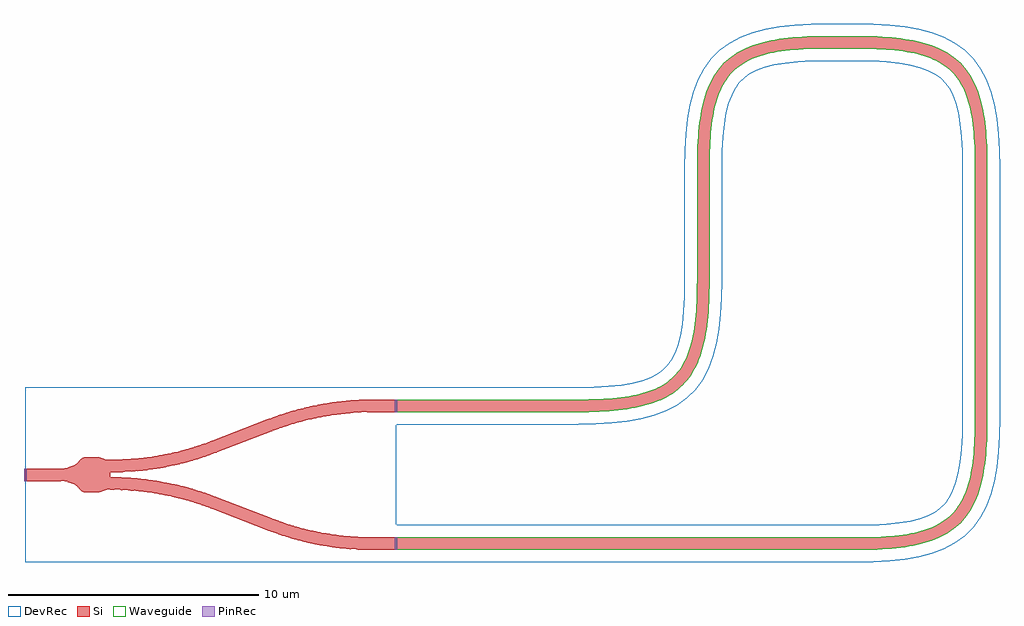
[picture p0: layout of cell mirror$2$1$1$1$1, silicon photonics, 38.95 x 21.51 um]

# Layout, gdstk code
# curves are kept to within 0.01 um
import gdstk
lib = gdstk.Library(unit=1e-6, precision=1e-09)
def R(c, l, rs):  # rectangles x0, y0, x1, y1
    for r in rs: c.add(gdstk.rectangle(r[:2], r[2:], *l))
def P(c, l, *ps):  # polygons
    for p in ps: c.add(gdstk.Polygon(p, *l))
Si = (1, 0)
PinRec = (1, 10)
Waveguide = (1, 99)
DevRec = (68, 0)

ebeam_y_1550 = lib.new_cell('ebeam_y_1550')
R(ebeam_y_1550, Si, [(6.5,-3,7.4,-2.5), (-7.4,-0.25,-6,0.25), (6.5,2.5,7.4,3)])
P(ebeam_y_1550, Si, [(6.458,-3),(6.237,-2.997),(6.237,-2.497),(6.5,-2.5),(6.5,-3)],
  [(2.265,-2.21),(0.055,-1.356),(0.235,-0.89),(2.445,-1.744)],
  [(5.033,-2.908),(4.288,-2.79),(3.59,-2.634),(2.922,-2.442),(2.265,-2.21),(2.445,-1.744),(3.075,-1.966),(3.731,-2.154),(4.372,-2.297),(5.033,-2.404)],
  [(-0.762,0.555),(-0.762,1.076),(0.055,1.356),(0.235,0.89),(-0.263,0.71)],
  [(6.233,-2.997),(5.619,-2.967),(5.033,-2.908),(5.033,-2.404),(5.625,-2.466),(6.237,-2.497)],
  [(0.235,0.89),(0.055,1.356),(2.265,2.21),(2.445,1.744)],
  [(-5.122,-0.662),(-5.344,-0.44),(-5.442,-0.374),(-5.808,-0.255),(-6,-0.25),(-6,0.25),(-5.817,0.253),(-5.442,0.374),(-5.344,0.44),(-5.122,0.662)],
  [(-4.957,-0.703),(-5.047,-0.692),(-5.122,-0.662),(-5.122,0.662),(-4.978,0.702),(-4.538,0.703),(-4.424,0.685),(-4.167,0.6),(-4,0.6),(-4,-0.6),(-4.167,-0.6),(-4.509,-0.701)],
  [(0.055,-1.356),(-0.762,-1.076),(-0.762,-0.555),(-0.263,-0.71),(0.235,-0.89)],
  [(6.237,2.497),(6.237,2.997),(6.5,3),(6.5,2.5)],
  [(-0.762,-1.076),(-1.532,-0.874),(-2.334,-0.724),(-3.178,-0.63),(-4,-0.6),(-4,-0.1),(-3.16,-0.13),(-2.381,-0.212),(-1.565,-0.355),(-0.762,-0.555)],
  [(5.033,2.404),(5.033,2.908),(5.619,2.967),(6.237,2.997),(6.237,2.497),(5.625,2.466)],
  [(-4,0.1),(-4,0.6),(-3.178,0.63),(-2.334,0.724),(-1.532,0.874),(-0.762,1.076),(-0.762,0.555),(-1.565,0.355),(-2.381,0.212),(-3.16,0.13)],
  [(2.445,1.744),(2.267,2.211),(2.922,2.442),(3.59,2.634),(4.288,2.79),(5.033,2.908),(5.033,2.404),(4.372,2.297),(3.731,2.154),(3.075,1.966)])
R(ebeam_y_1550, DevRec, [(-7.4,-3.5,7.4,3.5)])
ebeam_y_1550.add(gdstk.FlexPath([(-7.35,0),(-7.45,0)], 0.5, ends="flush", simple_path=True, layer=1, datatype=10))  # PinRec
ebeam_y_1550.add(gdstk.FlexPath([(7.35,-2.75),(7.45,-2.75)], 0.5, ends="flush", simple_path=True, layer=1, datatype=10))  # PinRec
ebeam_y_1550.add(gdstk.FlexPath([(7.35,2.75),(7.45,2.75)], 0.5, ends="flush", simple_path=True, layer=1, datatype=10))  # PinRec
ebeam_y_1550.add(gdstk.Label('opt2', (7.4,2.75), layer=1, texttype=10))
ebeam_y_1550.add(gdstk.Label('opt3', (7.4,-2.75), layer=1, texttype=10))
ebeam_y_1550.add(gdstk.Label('opt1', (-7.4,0), layer=1, texttype=10))
ebeam_y_1550.add(gdstk.Label('Component=ebeam_y_1550', (-6,1.5), layer=68, texttype=0))
ebeam_y_1550.add(gdstk.Label('Lumerical_INTERCONNECT_library=Design kits/ebeam', (-6.86,-2.19), layer=68, texttype=0))
ebeam_y_1550.add(gdstk.Label('Ref: Y Zhang, Opt. Express, 21/1, 2013', (-7.5,-1), layer=10, texttype=0))

waveguide = lib.new_cell('Waveguide')
P(waveguide, Si, [(231.144,-2.747),(231.144,-2.247),(249.49,-2.247),(250.511,-2.22),(251.379,-2.135),(251.831,-2.052),(252.102,-1.983),(252.354,-1.903),(252.69,-1.76),(252.983,-1.591),(253.157,-1.463),(253.386,-1.244),(253.583,-0.991),(253.752,-0.698),(253.895,-0.362),(254.011,0.023),(254.074,0.306),(254.149,0.774),(254.201,1.296),(254.23,1.871),(254.24,2.503),(254.24,12.511),(254.231,13.142),(254.202,13.717),(254.128,14.4),(254.045,14.852),(253.976,15.123),(253.804,15.604),(253.7,15.814),(253.521,16.093),(253.387,16.257),(253.158,16.476),(252.794,16.72),(252.355,16.916),(251.832,17.065),(251.38,17.148),(250.876,17.207),(249.918,17.256),(247.769,17.252),(247.194,17.223),(246.672,17.171),(246.356,17.124),(245.921,17.033),(245.536,16.917),(245.307,16.825),(245,16.664),(244.733,16.477),(244.504,16.258),(244.37,16.094),(244.138,15.712),(243.954,15.253),(243.816,14.708),(243.763,14.401),(243.704,13.897),(243.668,13.341),(243.652,12.728),(243.641,7.356),(243.595,6.572),(243.505,5.873),(243.443,5.554),(243.323,5.11),(243.225,4.836),(243.048,4.46),(242.833,4.123),(242.667,3.921),(242.483,3.737),(242.172,3.494),(241.944,3.356),(241.568,3.179),(241.294,3.081),(240.85,2.961),(240.364,2.872),(240.014,2.827),(239.45,2.781),(238.838,2.758),(231.144,2.753),(231.144,3.253),(238.4,3.253),(239.032,3.263),(239.607,3.292),(240.129,3.344),(240.597,3.419),(240.88,3.482),(241.265,3.598),(241.494,3.69),(241.801,3.851),(242.068,4.038),(242.223,4.18),(242.366,4.336),(242.553,4.603),(242.714,4.91),(242.806,5.139),(242.955,5.662),(243.038,6.114),(243.079,6.444),(243.123,6.982),(243.149,7.786),(243.16,13.159),(243.224,14.125),(243.326,14.804),(243.395,15.115),(243.525,15.544),(243.631,15.809),(243.82,16.172),(243.968,16.392),(244.223,16.688),(244.52,16.944),(244.74,17.092),(245.103,17.281),(245.368,17.387),(245.65,17.477),(246.108,17.586),(246.787,17.688),(247.351,17.734),(248.179,17.76),(249.713,17.759),(250.54,17.733),(251.104,17.687),(251.621,17.615),(252.094,17.516),(252.523,17.386),(252.913,17.221),(253.262,17.02),(253.573,16.777),(253.842,16.494),(254,16.282),(254.201,15.933),(254.315,15.678),(254.456,15.261),(254.533,14.96),(254.622,14.474),(254.667,14.124),(254.713,13.56),(254.74,12.511),(254.735,2.065),(254.712,1.453),(254.645,0.712),(254.532,0.053),(254.412,-0.391),(254.259,-0.795),(254.137,-1.041),(253.999,-1.269),(253.756,-1.58),(253.473,-1.849),(253.261,-2.007),(252.912,-2.208),(252.657,-2.322),(252.24,-2.463),(251.939,-2.54),(251.453,-2.629),(250.921,-2.692),(250.341,-2.73),(249.49,-2.747)])
P(waveguide, Waveguide, [(231.144,-2.747),(231.144,-2.247),(249.49,-2.247),(250.511,-2.22),(251.379,-2.135),(251.831,-2.052),(252.102,-1.983),(252.354,-1.903),(252.69,-1.76),(252.983,-1.591),(253.157,-1.463),(253.386,-1.244),(253.583,-0.991),(253.752,-0.698),(253.895,-0.362),(254.011,0.023),(254.074,0.306),(254.149,0.774),(254.201,1.296),(254.23,1.871),(254.24,2.503),(254.24,12.511),(254.231,13.142),(254.202,13.717),(254.128,14.4),(254.045,14.852),(253.976,15.123),(253.804,15.604),(253.7,15.814),(253.521,16.093),(253.387,16.257),(253.158,16.476),(252.794,16.72),(252.355,16.916),(251.832,17.065),(251.38,17.148),(250.876,17.207),(249.918,17.256),(247.769,17.252),(247.194,17.223),(246.672,17.171),(246.356,17.124),(245.921,17.033),(245.536,16.917),(245.307,16.825),(245,16.664),(244.733,16.477),(244.504,16.258),(244.37,16.094),(244.138,15.712),(243.954,15.253),(243.816,14.708),(243.763,14.401),(243.704,13.897),(243.668,13.341),(243.652,12.728),(243.641,7.356),(243.595,6.572),(243.505,5.873),(243.443,5.554),(243.323,5.11),(243.225,4.836),(243.048,4.46),(242.833,4.123),(242.667,3.921),(242.483,3.737),(242.172,3.494),(241.944,3.356),(241.568,3.179),(241.294,3.081),(240.85,2.961),(240.364,2.872),(240.014,2.827),(239.45,2.781),(238.838,2.758),(231.144,2.753),(231.144,3.253),(238.4,3.253),(239.032,3.263),(239.607,3.292),(240.129,3.344),(240.597,3.419),(240.88,3.482),(241.265,3.598),(241.494,3.69),(241.801,3.851),(242.068,4.038),(242.223,4.18),(242.366,4.336),(242.553,4.603),(242.714,4.91),(242.806,5.139),(242.955,5.662),(243.038,6.114),(243.079,6.444),(243.123,6.982),(243.149,7.786),(243.16,13.159),(243.224,14.125),(243.326,14.804),(243.395,15.115),(243.525,15.544),(243.631,15.809),(243.82,16.172),(243.968,16.392),(244.223,16.688),(244.52,16.944),(244.74,17.092),(245.103,17.281),(245.368,17.387),(245.65,17.477),(246.108,17.586),(246.787,17.688),(247.351,17.734),(248.179,17.76),(249.713,17.759),(250.54,17.733),(251.104,17.687),(251.621,17.615),(252.094,17.516),(252.523,17.386),(252.913,17.221),(253.262,17.02),(253.573,16.777),(253.842,16.494),(254,16.282),(254.201,15.933),(254.315,15.678),(254.456,15.261),(254.533,14.96),(254.622,14.474),(254.667,14.124),(254.713,13.56),(254.74,12.511),(254.735,2.065),(254.712,1.453),(254.645,0.712),(254.532,0.053),(254.412,-0.391),(254.259,-0.795),(254.137,-1.041),(253.999,-1.269),(253.756,-1.58),(253.473,-1.849),(253.261,-2.007),(252.912,-2.208),(252.657,-2.322),(252.24,-2.463),(251.939,-2.54),(251.453,-2.629),(250.921,-2.692),(250.341,-2.73),(249.49,-2.747)])
P(waveguide, DevRec, [(231.144,-3.247),(231.144,-1.747),(250.139,-1.737),(250.72,-1.705),(251.234,-1.65),(251.683,-1.572),(252.065,-1.472),(252.385,-1.352),(252.648,-1.212),(252.865,-1.055),(253.047,-0.873),(253.204,-0.656),(253.344,-0.393),(253.464,-0.073),(253.564,0.309),(253.642,0.758),(253.697,1.272),(253.729,1.853),(253.74,2.504),(253.74,12.51),(253.73,13.16),(253.698,13.741),(253.643,14.255),(253.565,14.704),(253.465,15.086),(253.345,15.406),(253.205,15.669),(253.048,15.886),(252.866,16.068),(252.649,16.225),(252.386,16.365),(252.066,16.485),(251.684,16.585),(251.235,16.663),(250.721,16.718),(250.14,16.75),(249.485,16.761),(247.751,16.751),(247.17,16.719),(246.656,16.664),(246.207,16.586),(245.825,16.486),(245.505,16.366),(245.242,16.226),(245.025,16.069),(244.843,15.887),(244.686,15.67),(244.546,15.407),(244.426,15.087),(244.326,14.705),(244.248,14.256),(244.193,13.742),(244.161,13.161),(244.15,12.509),(244.14,7.302),(244.104,6.653),(244.039,6.051),(243.941,5.494),(243.805,4.976),(243.623,4.494),(243.389,4.053),(243.098,3.654),(242.75,3.306),(242.351,3.015),(241.91,2.781),(241.428,2.599),(240.91,2.463),(240.353,2.365),(239.751,2.3),(239.102,2.264),(238.401,2.253),(231.144,2.253),(231.144,3.753),(238.399,3.753),(239.05,3.764),(239.631,3.796),(240.145,3.851),(240.594,3.929),(240.976,4.029),(241.296,4.149),(241.559,4.289),(241.776,4.446),(241.958,4.628),(242.115,4.845),(242.255,5.108),(242.375,5.428),(242.475,5.81),(242.553,6.259),(242.608,6.773),(242.64,7.354),(242.65,8.004),(242.661,13.213),(242.697,13.862),(242.762,14.464),(242.86,15.021),(242.996,15.539),(243.178,16.021),(243.412,16.462),(243.703,16.861),(244.051,17.209),(244.45,17.5),(244.891,17.734),(245.373,17.916),(245.891,18.052),(246.448,18.15),(247.05,18.215),(247.699,18.251),(249.495,18.261),(250.192,18.25),(250.841,18.214),(251.443,18.149),(252,18.051),(252.518,17.915),(253,17.733),(253.441,17.499),(253.84,17.208),(254.188,16.86),(254.479,16.461),(254.713,16.02),(254.895,15.538),(255.031,15.02),(255.129,14.463),(255.194,13.861),(255.23,13.212),(255.24,12.512),(255.24,2.502),(255.229,1.801),(255.193,1.152),(255.128,0.55),(255.03,-0.007),(254.894,-0.525),(254.712,-1.007),(254.478,-1.448),(254.187,-1.847),(253.839,-2.195),(253.44,-2.486),(252.999,-2.72),(252.517,-2.902),(251.999,-3.038),(251.442,-3.136),(250.84,-3.201),(250.191,-3.237)])
waveguide.add(gdstk.FlexPath([(231.154,-2.497),(231.134,-2.497)], 0.5, ends="flush", simple_path=True, layer=1, datatype=10))  # PinRec
waveguide.add(gdstk.FlexPath([(231.154,3.003),(231.134,3.003)], 0.5, ends="flush", simple_path=True, layer=1, datatype=10))  # PinRec
waveguide.add(gdstk.Label('opt1', (231.144,-2.497), layer=1, texttype=10))
waveguide.add(gdstk.Label('opt2', (231.144,3.003), layer=1, texttype=10))
waveguide.add(gdstk.Label('Lumerical_INTERCONNECT_library=Design kits/EBeam', (231.144,-2.597), layer=68, texttype=0))
waveguide.add(gdstk.Label('Length=75.001 (microns)', (231.144,-3.097), layer=68, texttype=0))
waveguide.add(gdstk.Label('cellName=Waveguide', (231.144,-2.297), layer=68, texttype=0))
waveguide.add(gdstk.Label('Component=ebeam_wg_integral_1550', (231.144,-2.397), layer=68, texttype=0))
waveguide.add(gdstk.Label('waveguide_type=Strip TE 1550 nm, w=500 nm', (231.144,-2.697), layer=68, texttype=0))
waveguide.add(gdstk.Label('Spice_param:wg_length=0.000075001 wg_width=5e-07 points="[[231.144,-2.497],[254.49,-2.497],[254.49,17.511],[243.4,17.511],[243.4,3.003],[231.144,3.003]]" radius=5e-06', (231.144,-2.497), layer=68, texttype=0))

mirror_2_1_1_1_1 = lib.new_cell('mirror$2$1$1$1$1')
mirror_2_1_1_1_1.add(gdstk.Reference(ebeam_y_1550, (7.5,3.5)))
mirror_2_1_1_1_1.add(gdstk.Reference(waveguide, (-216.244,3.247)))

lib.write_gds('mirror_2_1_1_1_1.gds')
